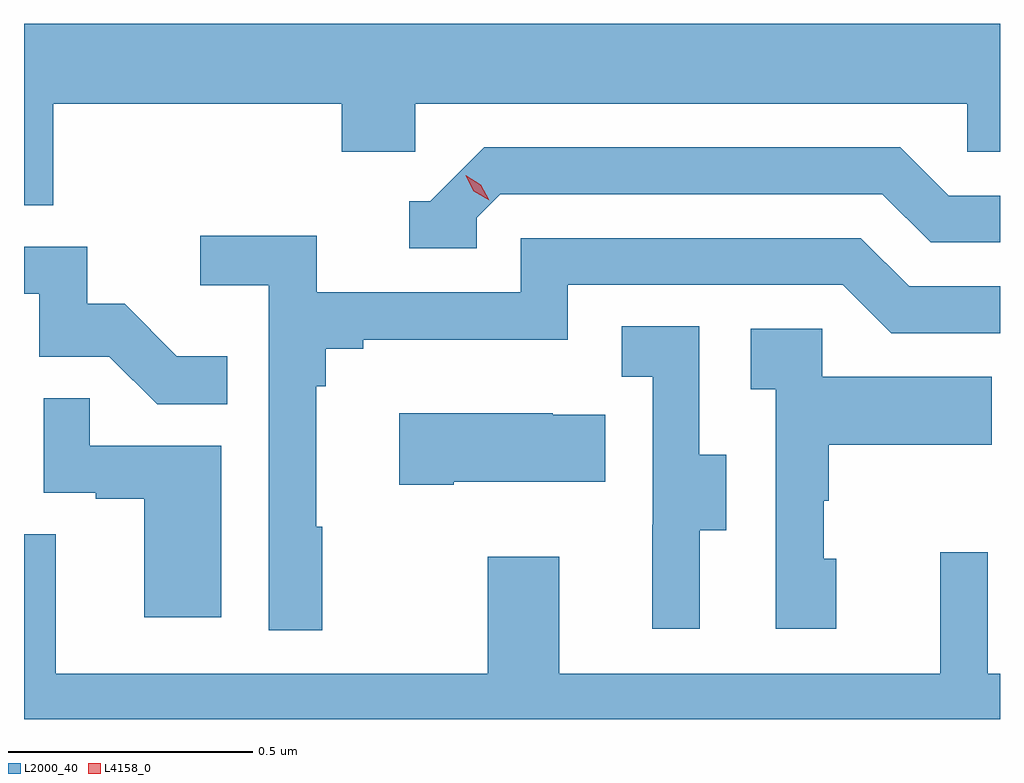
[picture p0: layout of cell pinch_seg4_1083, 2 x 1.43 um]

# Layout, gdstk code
import gdstk
lib = gdstk.Library(unit=1e-6, precision=1e-09)
def P(c, l, *ps):  # polygons
    for p in ps: c.add(gdstk.Polygon(p, *l))
L2000_40 = (2000, 40)
L4158_0 = (4158, 0)

pinch_seg4_1083 = lib.new_cell('pinch_seg4_1083')
P(pinch_seg4_1083, L2000_40, [(837.818,756.86),(838.409,756.86),(838.409,756.762),(838.56,756.762),(838.56,756.86),(839.691,756.86),(839.691,756.762),(839.758,756.762),(839.758,757.024),(837.758,757.024),(837.758,756.652),(837.818,756.652)],
  [(838.686,756.627),(838.734,756.675),(839.517,756.675),(839.616,756.576),(839.758,756.576),(839.758,756.672),(839.653,756.672),(839.554,756.771),(838.701,756.771),(838.59,756.66),(838.547,756.66),(838.547,756.564),(838.686,756.564)],
  [(838.369,755.993),(838.357,755.993),(838.357,756.281),(838.376,756.281),(838.376,756.358),(838.453,756.358),(838.453,756.377),(838.872,756.377),(838.872,756.489),(839.436,756.489),(839.535,756.39),(839.758,756.39),(839.758,756.486),(839.572,756.486),(839.473,756.585),(838.776,756.585),(838.776,756.474),(838.358,756.474),(838.358,756.59),(838.119,756.59),(838.119,756.488),(838.26,756.488),(838.26,755.781),(838.369,755.781)],
  [(838.175,756.343),(838.071,756.343),(837.964,756.45),(837.888,756.45),(837.888,756.567),(837.758,756.567),(837.758,756.471),(837.789,756.471),(837.789,756.342),(837.933,756.342),(838.031,756.244),(838.175,756.244)],
  [(839.143,755.986),(839.197,755.986),(839.197,756.141),(839.142,756.141),(839.142,756.404),(838.983,756.404),(838.983,756.301),(839.046,756.301),(839.046,755.997),(839.045,755.997),(839.045,755.784),(839.143,755.784)],
  [(839.422,755.928),(839.397,755.928),(839.397,756.047),(839.407,756.047),(839.407,756.161),(839.741,756.161),(839.741,756.301),(839.394,756.301),(839.394,756.399),(839.247,756.399),(839.247,756.275),(839.298,756.275),(839.298,755.784),(839.422,755.784)],
  [(838.162,756.159),(837.893,756.159),(837.893,756.257),(837.798,756.257),(837.798,756.063),(837.905,756.063),(837.905,756.051),(838.004,756.051),(838.004,755.808),(838.162,755.808)],
  [(838.639,756.086),(838.949,756.086),(838.949,756.223),(838.841,756.223),(838.841,756.226),(838.527,756.226),(838.527,756.079),(838.639,756.079)],
  [(839.758,755.692),(839.733,755.692),(839.733,755.941),(839.636,755.941),(839.636,755.692),(838.855,755.692),(838.855,755.932),(838.708,755.932),(838.708,755.692),(837.823,755.692),(837.823,755.978),(837.758,755.978),(837.758,755.599),(839.758,755.599)])
P(pinch_seg4_1083, L4158_0, [(838.711,756.662),(838.68,756.681),(838.663,756.713),(838.663,756.714),(838.663,756.714),(838.694,756.694),(838.711,756.662),(838.711,756.662)])

lib.write_gds('pinch_seg4_1083.gds')
